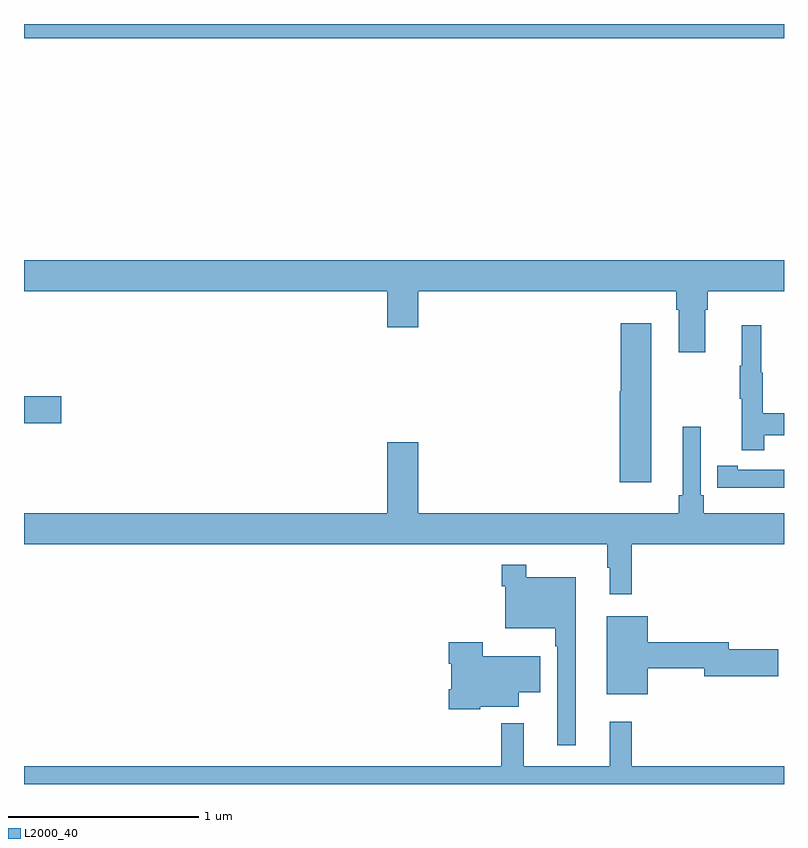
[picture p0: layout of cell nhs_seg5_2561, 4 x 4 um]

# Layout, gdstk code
import gdstk
lib = gdstk.Library(unit=1e-6, precision=1e-09)
def R(c, l, rs):  # rectangles x0, y0, x1, y1
    for r in rs: c.add(gdstk.rectangle(r[:2], r[2:], *l))
def P(c, l, *ps):  # polygons
    for p in ps: c.add(gdstk.Polygon(p, *l))
L2000_40 = (2000, 40)

nhs_seg5_2561 = lib.new_cell('nhs_seg5_2561')
R(nhs_seg5_2561, L2000_40, [(259,890.698,259.195,890.84), (259,892.724,263,892.799)])
P(nhs_seg5_2561, L2000_40, [(262.585,891.296),(262.598,891.296),(262.598,891.392),(263,891.392),(263,891.556),(259,891.556),(259,891.392),(260.912,891.392),(260.912,891.204),(261.076,891.204),(261.076,891.392),(262.433,891.392),(262.433,891.296),(262.445,891.296),(262.445,891.072),(262.585,891.072)],
  [(262.3,891.223),(262.142,891.223),(262.142,890.865),(262.136,890.865),(262.136,890.388),(262.3,890.388)],
  [(262.895,890.634),(263,890.634),(263,890.75),(262.888,890.75),(262.888,890.964),(262.88,890.964),(262.88,891.214),(262.778,891.214),(262.778,891.001),(262.767,891.001),(262.767,890.827),(262.778,890.827),(262.778,890.556),(262.895,890.556)],
  [(262.199,890.06),(263,890.06),(263,890.224),(262.577,890.224),(262.577,890.32),(262.563,890.32),(262.563,890.68),(262.466,890.68),(262.466,890.32),(262.447,890.32),(262.447,890.224),(261.076,890.224),(261.076,890.599),(260.912,890.599),(260.912,890.224),(259,890.224),(259,890.06),(262.071,890.06),(262.071,889.937),(262.082,889.937),(262.082,889.797),(262.199,889.797)],
  [(263,890.454),(262.756,890.454),(262.756,890.474),(262.648,890.474),(262.648,890.358),(262.756,890.358),(262.756,890.357),(263,890.357)],
  [(261.904,889.888),(261.643,889.888),(261.643,889.954),(261.514,889.954),(261.514,889.841),(261.534,889.841),(261.534,889.619),(261.795,889.619),(261.795,889.523),(261.807,889.523),(261.807,889.002),(261.904,889.002)],
  [(262.282,889.408),(262.58,889.408),(262.58,889.366),(262.969,889.366),(262.969,889.508),(262.708,889.508),(262.708,889.544),(262.282,889.544),(262.282,889.681),(262.067,889.681),(262.067,889.271),(262.282,889.271)],
  [(261.402,889.205),(261.604,889.205),(261.604,889.283),(261.718,889.283),(261.718,889.471),(261.414,889.471),(261.414,889.546),(261.236,889.546),(261.236,889.433),(261.248,889.433),(261.248,889.297),(261.236,889.297),(261.236,889.193),(261.402,889.193)],
  [(263,888.892),(262.199,888.892),(262.199,889.126),(262.082,889.126),(262.082,888.892),(261.629,888.892),(261.629,889.12),(261.511,889.12),(261.511,888.892),(259,888.892),(259,888.799),(263,888.799)])

lib.write_gds('nhs_seg5_2561.gds')
